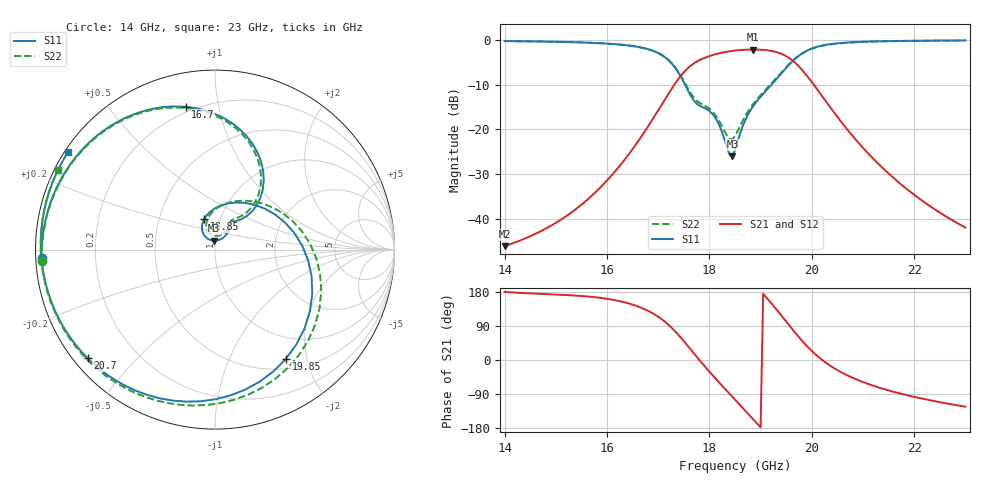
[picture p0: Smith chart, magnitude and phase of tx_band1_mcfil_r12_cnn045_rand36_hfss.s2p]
! Touchstone file exported from HFSS 3D Layout Design 2026.1.0
!  File:  D:/Work/SIM/ADS_AUTO_SIM/projects/RFSOC_RF/TX_Fillter.aedt
!  Generated:  11:59:55 PM Aug 30, 2026
!  Design:  TX_BAND1_MCFIL_R12_CNN045
!  Project:  TX_Fillter
# GHz S MA R 50.000000
! Terminal data exported
! Port[1] = Port1
! Port[2] = Port2
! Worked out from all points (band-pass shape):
!   181 points, 14 GHz to 23 GHz, reference 50 ohm
!   highest |S21| = -2.18 dB at 18.85 GHz (marker M1); lowest = -46.0 dB at 14 GHz (marker M2)
!   |S21| within 3 dB of the highest: 17.71 GHz to 19.68 GHz (1.969 GHz wide, 10.5 % of centre)
!   lowest |S11| = -26.0 dB at 18.45 GHz (marker M3), VSWR 1.11, Z = 48.9 + j4.88 ohm
!   |S11| at or under -10 dB: 17.52 GHz to 19.21 GHz (1.692 GHz wide, 9.21 % of centre)
!   |S22| runs from -22.2 to -0.2 dB; largest |S21 - S12| = 1.2e-13
!   S11 on the Smith chart (normalised r, x): 14 GHz: 0.02, -0.02; 16.7 GHz: 0.17, +0.80; 18.85 GHz: 0.84, +0.29; 19.85 GHz: 0.64, -1.65; 20.7 GHz: 0.04, -0.37; 23 GHz: 0.01, +0.30
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14  0.9676 -177.3  0.004986 179.6  0.004986 179.6  0.9672 -176.3
15.5  0.9339 148.1  0.01445 168.9  0.01445 168.9  0.9329 149.4
16.15  0.8943 127.0  0.03362 158.0  0.03362 158.0  0.8931 128.3
16.7  0.8121 101.6  0.08801 136.1  0.08801 136.1  0.8118 103.2
17  0.71 82.2  0.1637 114.2  0.1637 114.2  0.7117 84.1
17.25  0.5541 62.4  0.2778 86.8  0.2778 86.8  0.5601 65.0
17.5  0.3352 46.6  0.4331 49.9  0.4331 49.9  0.3482 49.9
17.7  0.2087 51.4  0.546 16.8  0.546 16.8  0.2249 53.5
17.9  0.1738 59.9  0.6269 -15.4  0.6269 -15.4  0.1853 60.8
18.2  0.1092 52.8  0.7081 -60.8  0.7081 -60.8  0.1217 58.5
18.45  0.05035 99.4  0.7514 -97.3  0.7514 -97.3  0.07809 92.0
18.5  0.05882 115.5  0.7575 -104.6  0.7575 -104.6  0.08434 101.3
18.85  0.18 109.6  0.7777 -155.5  0.7777 -155.5  0.1904 99.9
19.1  0.2676 74.1  0.7667 166.9  0.7667 166.9  0.2779 71.9
19.4  0.4185 21.1  0.6999 118.5  0.6999 118.5  0.4295 28.0
19.65  0.5954 -24.5  0.57 76.3  0.57 76.3  0.601 -13.1
19.85  0.726 -57.1  0.4341 44.6  0.4341 44.6  0.7257 -44.3
20  0.7984 -77.9  0.3379 23.8  0.3379 23.8  0.7947 -64.9
20.3  0.8835 -110.2  0.1965 -9.6  0.1965 -9.6  0.8769 -97.8
20.7  0.9327 -139.5  0.09863 -40.9  0.09863 -40.9  0.9264 -128.4
21.5  0.9668 -175.4  0.03222 -80.3  0.03222 -80.3  0.963 -166.2
23  0.9825 146.3  0.008041 -123.2  0.008041 -123.2  0.9811 153.3
